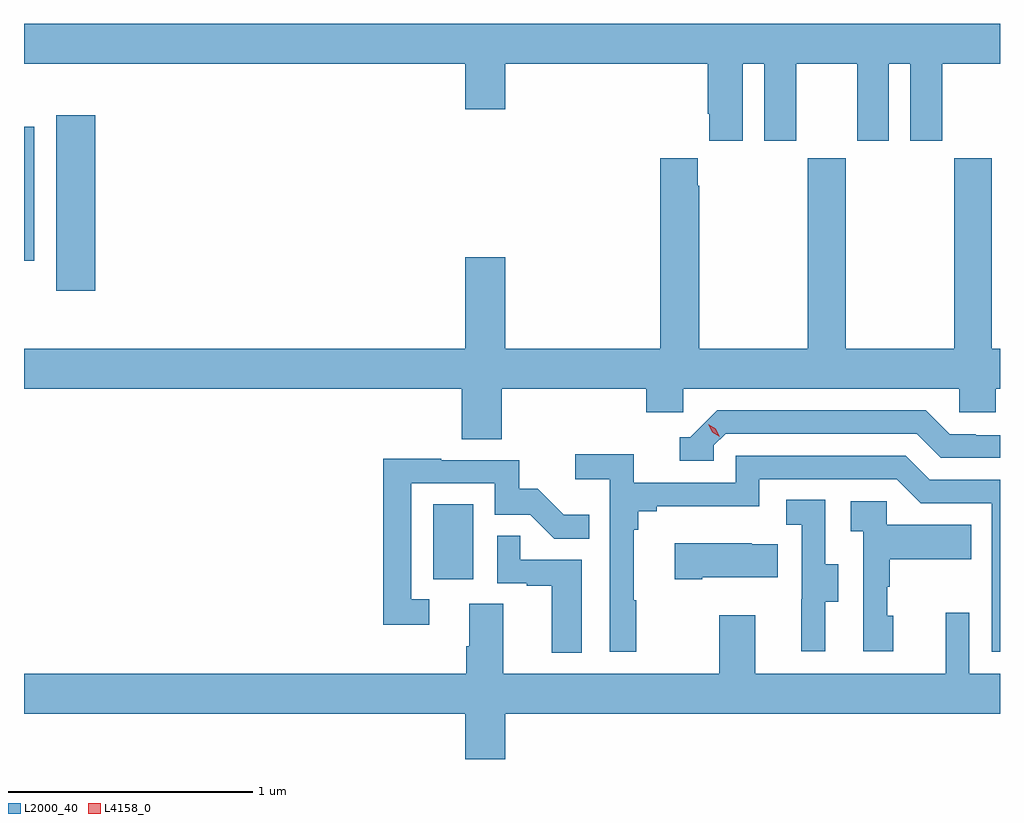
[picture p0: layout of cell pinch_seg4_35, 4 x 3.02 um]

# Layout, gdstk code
import gdstk
lib = gdstk.Library(unit=1e-6, precision=1e-09)
def R(c, l, rs):  # rectangles x0, y0, x1, y1
    for r in rs: c.add(gdstk.rectangle(r[:2], r[2:], *l))
def P(c, l, *ps):  # polygons
    for p in ps: c.add(gdstk.Polygon(p, *l))
L2000_40 = (2000, 40)
L4158_0 = (4158, 0)

pinch_seg4_35 = lib.new_cell('pinch_seg4_35')
R(pinch_seg4_35, L2000_40, [(1141.898,812.022,1142.062,812.329), (1140.353,813.204,1140.514,813.925), (1140.221,813.327,1140.264,813.878)])
P(pinch_seg4_35, L2000_40, [(1143.166,814.136),(1143.254,814.136),(1143.254,813.819),(1143.385,813.819),(1143.385,814.136),(1143.635,814.136),(1143.635,813.819),(1143.766,813.819),(1143.766,814.136),(1143.854,814.136),(1143.854,813.819),(1143.985,813.819),(1143.985,814.136),(1144.221,814.136),(1144.221,814.3),(1140.221,814.3),(1140.221,814.136),(1142.03,814.136),(1142.03,813.948),(1142.194,813.948),(1142.194,814.136),(1143.023,814.136),(1143.023,813.931),(1143.029,813.931),(1143.029,813.819),(1143.166,813.819)],
  [(1142.18,812.804),(1142.771,812.804),(1142.771,812.706),(1142.922,812.706),(1142.922,812.804),(1144.053,812.804),(1144.053,812.706),(1144.203,812.706),(1144.203,812.804),(1144.221,812.804),(1144.221,812.968),(1144.188,812.968),(1144.188,813.748),(1144.033,813.748),(1144.033,812.968),(1143.588,812.968),(1143.588,813.748),(1143.433,813.748),(1143.433,812.968),(1142.988,812.968),(1142.988,813.635),(1142.983,813.635),(1142.983,813.748),(1142.828,813.748),(1142.828,812.968),(1142.194,812.968),(1142.194,813.343),(1142.03,813.343),(1142.03,812.968),(1140.221,812.968),(1140.221,812.804),(1142.015,812.804),(1142.015,812.596),(1142.18,812.596)],
  [(1143.048,812.571),(1143.096,812.619),(1143.879,812.619),(1143.978,812.52),(1144.221,812.52),(1144.221,812.613),(1144.122,812.613),(1144.122,812.616),(1144.015,812.616),(1143.916,812.715),(1143.063,812.715),(1142.952,812.604),(1142.909,812.604),(1142.909,812.508),(1143.048,812.508)],
  [(1142.731,811.937),(1142.719,811.937),(1142.719,812.225),(1142.738,812.225),(1142.738,812.302),(1142.815,812.302),(1142.815,812.321),(1143.234,812.321),(1143.234,812.433),(1143.798,812.433),(1143.897,812.334),(1144.188,812.334),(1144.188,811.725),(1144.221,811.725),(1144.221,812.43),(1143.934,812.43),(1143.835,812.529),(1143.138,812.529),(1143.138,812.418),(1142.72,812.418),(1142.72,812.534),(1142.481,812.534),(1142.481,812.432),(1142.622,812.432),(1142.622,811.725),(1142.731,811.725)],
  [(1141.882,811.941),(1141.809,811.941),(1141.809,812.415),(1142.151,812.415),(1142.151,812.286),(1142.296,812.286),(1142.394,812.188),(1142.537,812.188),(1142.537,812.287),(1142.433,812.287),(1142.326,812.394),(1142.25,812.394),(1142.25,812.511),(1141.931,812.511),(1141.931,812.516),(1141.693,812.516),(1141.693,811.836),(1141.882,811.836)],
  [(1143.505,811.93),(1143.559,811.93),(1143.559,812.085),(1143.504,812.085),(1143.504,812.348),(1143.345,812.348),(1143.345,812.245),(1143.408,812.245),(1143.408,811.941),(1143.407,811.941),(1143.407,811.728),(1143.505,811.728)],
  [(1143.784,811.872),(1143.759,811.872),(1143.759,811.991),(1143.769,811.991),(1143.769,812.105),(1144.103,812.105),(1144.103,812.245),(1143.756,812.245),(1143.756,812.343),(1143.609,812.343),(1143.609,812.219),(1143.66,812.219),(1143.66,811.728),(1143.784,811.728)],
  [(1142.506,812.103),(1142.255,812.103),(1142.255,812.201),(1142.16,812.201),(1142.16,812.007),(1142.281,812.007),(1142.281,811.995),(1142.384,811.995),(1142.384,811.721),(1142.506,811.721)],
  [(1143.001,812.03),(1143.311,812.03),(1143.311,812.167),(1143.203,812.167),(1143.203,812.17),(1142.889,812.17),(1142.889,812.023),(1143.001,812.023)],
  [(1142.194,811.472),(1144.221,811.472),(1144.221,811.636),(1144.095,811.636),(1144.095,811.885),(1143.998,811.885),(1143.998,811.636),(1143.217,811.636),(1143.217,811.876),(1143.07,811.876),(1143.07,811.636),(1142.185,811.636),(1142.185,811.922),(1142.045,811.922),(1142.045,811.748),(1142.033,811.748),(1142.033,811.636),(1140.221,811.636),(1140.221,811.472),(1142.03,811.472),(1142.03,811.284),(1142.194,811.284)])
P(pinch_seg4_35, L4158_0, [(1143.072,812.606),(1143.042,812.625),(1143.026,812.658),(1143.026,812.658),(1143.026,812.658),(1143.057,812.639),(1143.073,812.606),(1143.073,812.606)])

lib.write_gds('pinch_seg4_35.gds')
